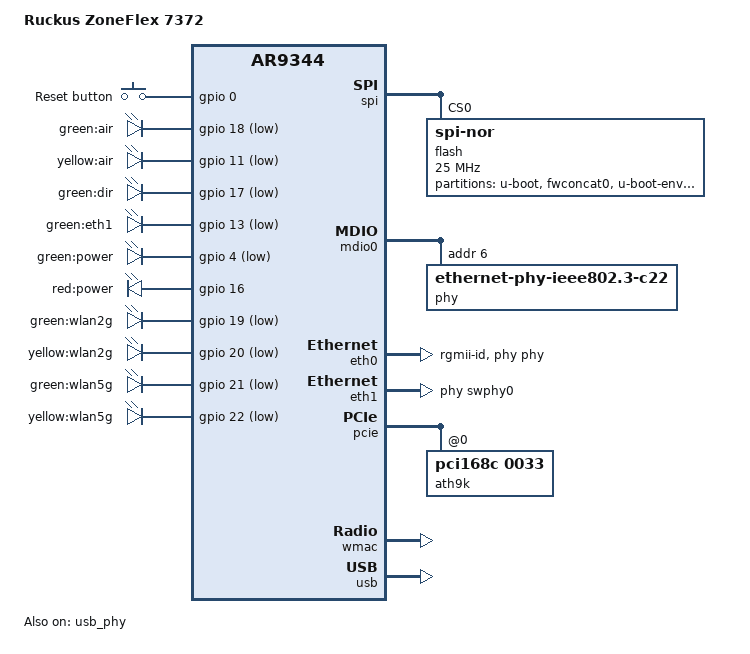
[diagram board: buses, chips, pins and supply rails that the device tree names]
// SPDX-License-Identifier: GPL-2.0-or-later OR MIT

#include "ar9344.dtsi"

#include <dt-bindings/gpio/gpio.h>
#include <dt-bindings/input/input.h>
#include <dt-bindings/mtd/partitions/uimage.h>

/ {
	model = "Ruckus ZoneFlex 7372";
	compatible = "ruckus,zf7372", "qca,ar9344";

	aliases {
		led-boot = &power_green;
		led-failsafe = &power_red;
		led-running = &power_green;
		led-upgrade = &power_red;
	};

	firmware-concat {
		compatible = "mtd-concat";
		devices = <&fwconcat0 &fwconcat1>;

		partitions {
			compatible = "fixed-partitions";
			#address-cells = <1>;
			#size-cells = <1>;

			partition@0 {
				reg = <0x0 0x1f00000>;
				label = "firmware";
				compatible = "openwrt,uimage", "denx,uimage";
			};
		};
	};

	keys {
		compatible = "gpio-keys";

		reset {
			linux,code = <KEY_RESTART>;
			label = "Reset button";
			gpios = <&gpio 0 GPIO_ACTIVE_HIGH>;
			debounce-interval = <50>;
		};
	};

	leds {
		compatible = "gpio-leds";
		pinctrl-names = "default";
		pinctrl-0 = <&enable_gpio_11>,
			    <&enable_gpio_16>,
			    <&enable_gpio_4>,
			    <&clks_disable_pins>;

		air-green {
			label = "green:air";
			gpios = <&gpio 18 GPIO_ACTIVE_LOW>;
		};

		air-yellow {
			label = "yellow:air";
			gpios = <&gpio 11 GPIO_ACTIVE_LOW>;
		};

		dir-green {
			label = "green:dir";
			gpios = <&gpio 17 GPIO_ACTIVE_LOW>;
		};

		eth1-green {
			label = "green:eth1";
			gpios = <&gpio 13 GPIO_ACTIVE_LOW>;
		};

		power_green: power-green {
			label = "green:power";
			gpios = <&gpio 4 GPIO_ACTIVE_LOW>;
			default-state = "on";
		};

		power_red: power-red {
			label = "red:power";
			gpios = <&gpio 16 GPIO_ACTIVE_HIGH>;
		};

		wlan2g-green {
			label = "green:wlan2g";
			gpios = <&gpio 19 GPIO_ACTIVE_LOW>;
			linux,default-trigger = "phy0assoc";
		};

		wlan2g-yellow {
			label = "yellow:wlan2g";
			gpios = <&gpio 20 GPIO_ACTIVE_LOW>;
			linux,default-trigger = "phy0tpt";
		};

		wlan5g-green {
			label = "green:wlan5g";
			gpios = <&gpio 21 GPIO_ACTIVE_LOW>;
			linux,default-trigger = "phy1assoc";
		};

		wlan5g-yellow {
			label = "yellow:wlan5g";
			gpios = <&gpio 22 GPIO_ACTIVE_LOW>;
			linux,default-trigger = "phy1tpt";
		};
	};

	reserved-memory {
		#address-cells = <1>;
		#size-cells = <1>;
		ranges;

		ruckus-himem@7ff0000 {
			/* Ruckus Himem area used to control
			 * redundant boot image selection
			 */
			compatible = "nvmem-rmem";
			reg = <0x7ff0000 0x10000>;
			no-map;
		};
	};
};

&ref {
	clock-frequency = <40000000>;
};

&spi {
	status = "okay";

	flash@0 {
		compatible = "jedec,spi-nor";
		reg = <0>;
		spi-max-frequency = <25000000>;

		partitions {
			compatible = "fixed-partitions";
			#address-cells = <1>;
			#size-cells = <1>;

			partition@0 {
				label = "u-boot";
				reg = <0x000000 0x040000>;
				read-only;
			};

			fwconcat0: partition@40000 {
				label = "fwconcat0";
				reg = <0x040000 0xf00000>;
			};

			partition@f40000 {
				label = "u-boot-env";
				reg = <0xf40000 0x040000>;
			};

			board_data: partition@f80000 {
				label = "board-data";
				reg = <0xf80000 0x080000>;
				read-only;
			};

			fwconcat1: partition@1000000 {
				label = "fwconcat1";
				reg = <0x1000000 0x1000000>;
			};
		};
	};
};

&mdio0 {
	status = "okay";

	phy: ethernet-phy@6 {
		compatible = "ethernet-phy-ieee802.3-c22";
		reg = <6>;
	};
};

&eth0 {
	status = "okay";
	pll-data = <0x02000000 0x00000101 0x00001313>;
	phy-mode = "rgmii-id";
	phy-handle = <&phy>;

	nvmem-cells = <&macaddr_board_data_6c>;
	nvmem-cell-names = "mac-address";

	gmac-config {
		device = <&gmac>;
		rgmii-gmac0 = <1>;
		rxdv-delay = <3>;
		rxd-delay = <3>;
	};
};

&eth1 {
	status = "okay";
	phy-handle = <&swphy0>;

	nvmem-cells = <&macaddr_board_data_66>;
	nvmem-cell-names = "mac-address";

	/delete-node/ fixed-link;
	gmac-config {
		device = <&gmac>;
		switch-phy-swap = <0>;
		switch-only-mode = <1>;
	};
};

&pcie {
	status = "okay";

	ath9k: wifi@0,0 {
		compatible = "pci168c,0033";
		reg = <0x0000 0 0 0 0>;

		nvmem-cells = <&macaddr_board_data_76>;
		nvmem-cell-names = "mac-address";
	};
};

&pinmux {
	clks_disable_pins: pinmux_clks_disable_pins {
		pinctrl-single,bits = <0x40 0x0 0x20>;
	};

	enable_gpio_4: pinctrl_enable_gpio_4 {
		pinctrl-single,bits = <0x4 0x0 0xff>;
	};

	enable_gpio_11: pinctrl_enable_gpio_11 {
		pinctrl-single,bits = <0x8 0x0 0xff000000>;
	};

	enable_gpio_16: pinctrl_enable_gpio_16 {
		pinctrl-single,bits = <0x10 0x0 0xff>;
	};
};

&wmac {
	status = "okay";

	nvmem-cells = <&macaddr_board_data_60>, <&cal_board_data_41000>;
	nvmem-cell-names = "mac-address", "calibration";
};

&usb {
	status = "okay";
};

&usb_phy {
	status = "okay";
};

&board_data {
	compatible = "nvmem-cells";
	#address-cells = <1>;
	#size-cells = <1>;

	macaddr_board_data_60: macaddr@60 {
		reg = <0x60 0x6>;
	};

	macaddr_board_data_66: macaddr@66 {
		reg = <0x66 0x6>;
	};

	macaddr_board_data_6c: macaddr@6c {
		reg = <0x6c 0x6>;
	};

	macaddr_board_data_76: macaddr@76 {
		reg = <0x76 0x6>;
	};

	cal_board_data_41000: cal@41000 {
		reg = <0x41000 0x440>;
	};

};
